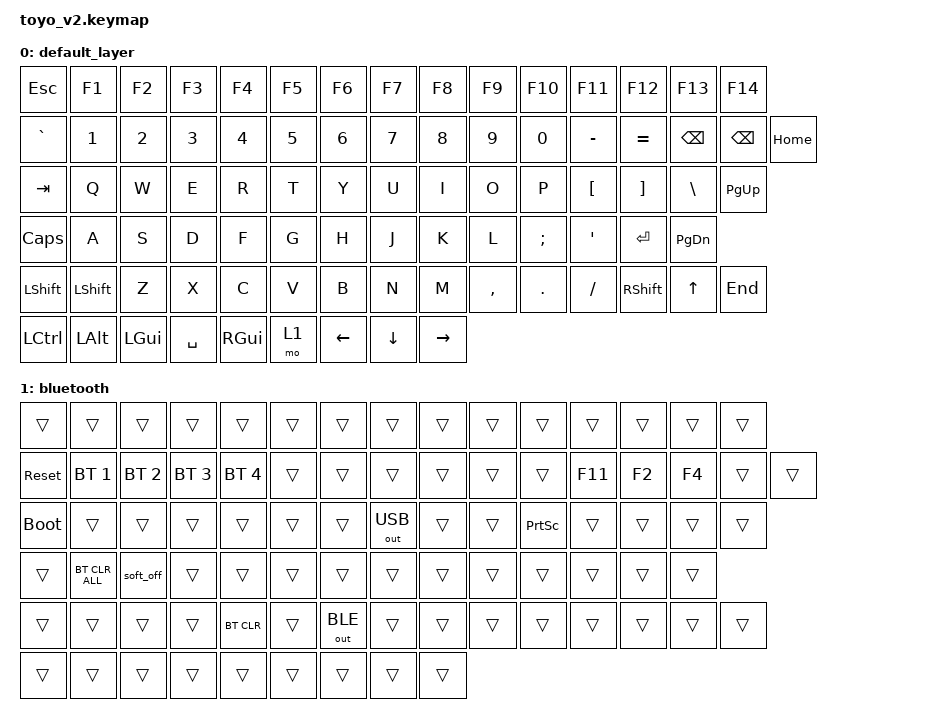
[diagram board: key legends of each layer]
/*
 * Copyright (c) 2021 Nick Winans
 *
 * SPDX-License-Identifier: MIT
 */

#include <behaviors.dtsi>
#include <dt-bindings/zmk/keys.h>
#include <dt-bindings/zmk/rgb.h>
#include <dt-bindings/zmk/bt.h>
#include <dt-bindings/zmk/outputs.h>
#include <dt-bindings/zmk/ext_power.h>

/ {
  keymap {
    compatible = "zmk,keymap";
    
    default_layer {
     bindings = <
        &kp ESC    &kp F1     &kp F2   &kp F3    &kp F4   &kp F5   &kp F6   &kp F7   &kp F8     &kp F9     &kp F10   &kp F11    &kp F12    &kp F13    &kp F14  
        &kp GRAVE  &kp N1     &kp N2   &kp N3    &kp N4   &kp N5   &kp N6   &kp N7   &kp N8     &kp N9     &kp N0    &kp MINUS  &kp EQUAL  &kp BSPC        &kp BSPC  &kp HOME
        &kp TAB    &kp Q      &kp W    &kp E     &kp R    &kp T    &kp Y    &kp U    &kp I      &kp O      &kp P     &kp LBKT   &kp RBKT   &kp BSLH        &kp PG_UP
        &kp CLCK   &kp A      &kp S    &kp D     &kp F    &kp G    &kp H    &kp J    &kp K      &kp L      &kp SEMI  &kp SQT    &kp RET    &kp PG_DN
        &kp LSHFT  &kp LSHFT  &kp Z    &kp X     &kp C    &kp V    &kp B    &kp N    &kp M      &kp COMMA  &kp DOT   &kp FSLH   &kp RSHFT  &kp UP          &kp END
        &kp LCTRL  &kp LALT   &kp LGUI  &kp SPACE &kp RGUI &mo 1    &kp LEFT &kp DOWN &kp RIGHT
      >;
    };

    bluetooth {
      bindings = <
        &trans      &trans     &trans   &trans   &trans   &trans    &trans   &trans   &trans      &trans    &trans     &trans     &trans    &trans   &trans 
        &sys_reset  &bt BT_SEL 1  &bt BT_SEL 2  &bt BT_SEL 3  &bt BT_SEL 4  &trans  &trans  &trans  &trans  &trans  &trans  &kp F11  &kp F2  &kp F4  &trans  &trans  
        &bootloader &trans    &trans   &trans    &trans   &trans   &trans    &out OUT_USB  &trans  &trans  &kp PRINTSCREEN  &trans  &trans  &trans  &trans 
        &trans      &bt BT_CLR_ALL  &soft_off  &trans  &trans  &trans  &trans  &trans  &trans  &trans  &trans  &trans  &trans  &trans  
        &trans      &trans  &trans  &trans  &bt BT_CLR  &trans  &out OUT_BLE  &trans  &trans  &trans  &trans  &trans  &trans  &trans  &trans  
        &trans  &trans  &trans  &trans  &trans    &trans   &trans        &trans   &trans    
      >;
    };
    
  };
};
